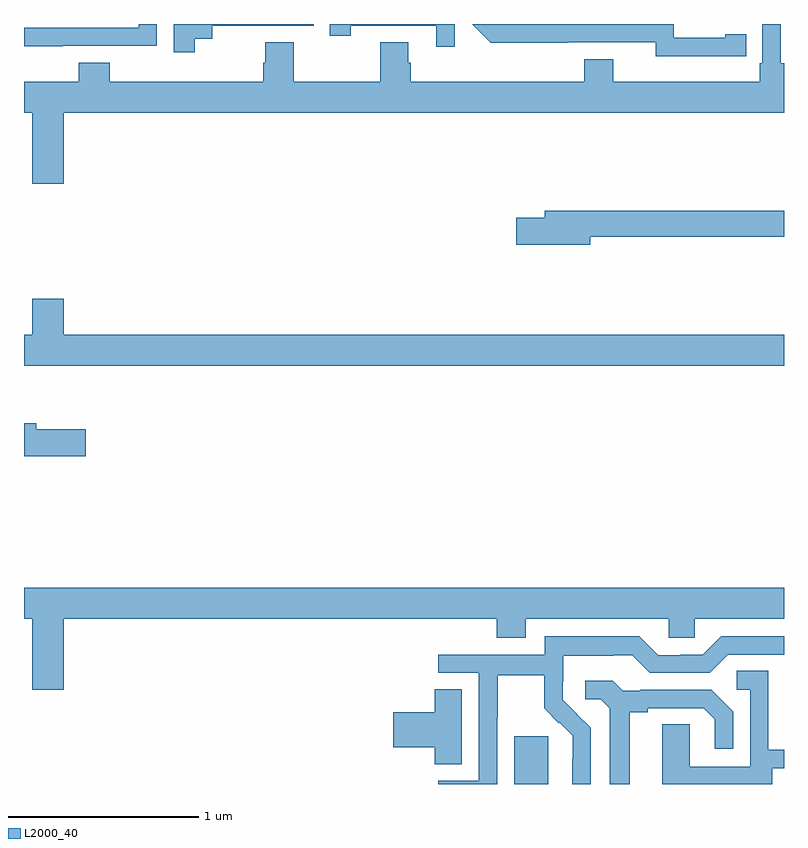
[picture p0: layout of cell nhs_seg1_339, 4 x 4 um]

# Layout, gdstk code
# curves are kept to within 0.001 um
import gdstk
lib = gdstk.Library(unit=1e-6, precision=1e-09)
def R(c, l, rs):  # rectangles x0, y0, x1, y1
    for r in rs: c.add(gdstk.rectangle(r[:2], r[2:], *l))
def P(c, l, *ps):  # polygons
    for p in ps: c.add(gdstk.Polygon(p, *l))
L2000_40 = (2000, 40)

nhs_seg1_339 = lib.new_cell('nhs_seg1_339')
R(nhs_seg1_339, L2000_40, [(131.579,548.199,131.758,548.451)])
P(nhs_seg1_339, L2000_40, [(132.692,552.03),(132.8,552.03),(132.8,552.146),(132.692,552.146),(132.692,552.126),(132.42,552.126),(132.42,552.198),(131.358,552.199),(131.456,552.101),(132.324,552.102),(132.324,552.029)],
  [(129.203,552.084),(129.699,552.084),(129.699,552.199),(129.603,552.199),(129.603,552.18),(129,552.18),(129,552.083),(129.203,552.083)],
  [(131.268,552.199),(130.609,552.199),(130.609,552.138),(130.72,552.138),(130.72,552.189),(131.171,552.189),(131.171,552.078),(131.268,552.078)],
  [(129.898,552.121),(129.99,552.121),(129.99,552.189),(130.524,552.189),(130.524,552.199),(129.789,552.199),(129.789,552.051),(129.898,552.051)],
  [(129.208,551.732),(133,551.732),(133,551.992),(132.982,551.992),(132.982,552.199),(132.885,552.199),(132.885,551.992),(132.872,551.992),(132.872,551.896),(132.1,551.896),(132.1,552.013),(131.948,552.013),(131.948,551.896),(131.036,551.896),(131.036,551.994),(131.023,551.994),(131.023,552.104),(130.876,552.104),(130.876,551.896),(130.419,551.896),(130.419,552.104),(130.271,552.104),(130.271,551.994),(130.259,551.994),(130.259,551.896),(129.452,551.896),(129.452,551.995),(129.287,551.995),(129.287,551.896),(129,551.896),(129,551.732),(129.044,551.732),(129.044,551.358),(129.208,551.358)],
  [(131.98,551.08),(133,551.08),(133,551.216),(131.741,551.216),(131.741,551.18),(131.592,551.18),(131.592,551.038),(131.98,551.038)],
  [(133,550.564),(129.208,550.564),(129.208,550.753),(129.044,550.753),(129.044,550.564),(129,550.564),(129,550.4),(133,550.4)],
  [(129.325,550.065),(129.064,550.065),(129.064,550.099),(129,550.099),(129,549.923),(129.325,549.923)],
  [(129.208,549.068),(131.489,549.068),(131.489,548.969),(131.641,548.969),(131.641,549.068),(132.393,549.068),(132.393,548.97),(132.531,548.97),(132.531,549.068),(133,549.068),(133,549.232),(129,549.232),(129,549.068),(129.044,549.068),(129.044,548.694),(129.208,548.694)],
  [(131.49,548.548),(131.493,548.548),(131.493,548.772),(131.737,548.772),(131.737,548.597),(131.814,548.52),(131.817,548.523),(131.888,548.453),(131.888,548.33),(131.886,548.33),(131.886,548.199),(131.982,548.199),(131.982,548.494),(131.836,548.642),(131.836,548.739),(131.838,548.739),(131.838,548.873),(132.101,548.873),(132.101,548.877),(132.201,548.877),(132.294,548.784),(132.609,548.784),(132.705,548.88),(133,548.88),(133,548.976),(132.669,548.976),(132.573,548.88),(132.455,548.88),(132.455,548.877),(132.339,548.877),(132.239,548.977),(131.742,548.977),(131.742,548.88),(131.181,548.88),(131.181,548.784),(131.394,548.784),(131.394,548.217),(131.181,548.217),(131.181,548.199),(131.49,548.199)],
  [(132.937,548.283),(133,548.283),(133,548.379),(132.918,548.379),(132.918,548.795),(132.75,548.795),(132.75,548.694),(132.822,548.694),(132.822,548.289),(132.504,548.289),(132.504,548.513),(132.359,548.513),(132.359,548.199),(132.937,548.199)],
  [(132.187,548.576),(132.283,548.576),(132.283,548.598),(132.578,548.598),(132.635,548.541),(132.635,548.385),(132.732,548.385),(132.732,548.578),(132.616,548.694),(132.244,548.694),(132.244,548.691),(132.15,548.691),(132.098,548.743),(131.955,548.743),(131.955,548.646),(132.036,548.646),(132.083,548.599),(132.083,548.199),(132.187,548.199)],
  [(131.305,548.699),(131.162,548.699),(131.162,548.576),(130.944,548.576),(130.944,548.393),(131.162,548.393),(131.162,548.302),(131.305,548.302)])

lib.write_gds('nhs_seg1_339.gds')
